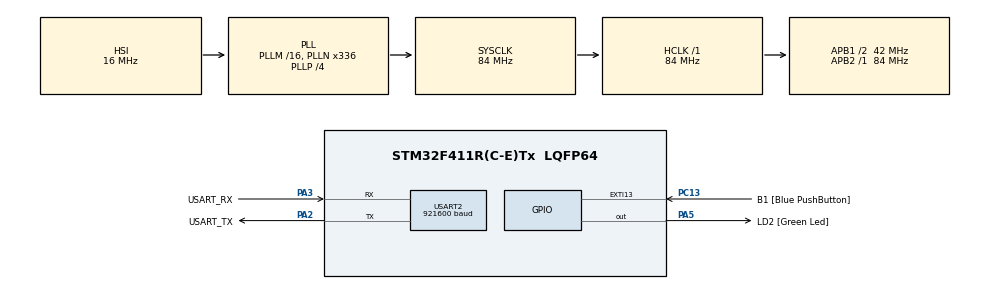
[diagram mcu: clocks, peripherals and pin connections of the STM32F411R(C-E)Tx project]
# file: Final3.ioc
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Mcu.Family=STM32F4
Mcu.Name=STM32F411R(C-E)Tx
Mcu.Package=LQFP64
NVIC.PriorityGroup=NVIC_PRIORITYGROUP_2
NVIC.USART2_IRQn=true\:2\:0\:true\:false\:true\:true\:true
PA13.GPIO_Label=TMS
PA13.Mode=Serial_Wire
PA13.Signal=SYS_JTMS-SWDIO
PA14.GPIO_Label=TCK
PA14.Mode=Serial_Wire
PA14.Signal=SYS_JTCK-SWCLK
PA2.GPIO_Label=USART_TX
PA2.Mode=Asynchronous
PA2.Signal=USART2_TX
PA3.GPIO_Label=USART_RX
PA3.Mode=Asynchronous
PA3.Signal=USART2_RX
PA5.GPIO_Label=LD2 [Green Led]
PA5.Signal=GPIO_Output
PB3.GPIO_Label=SWO
PB3.Signal=SYS_JTDO-SWO
PC13-ANTI_TAMP.GPIO_Label=B1 [Blue PushButton]
PC13-ANTI_TAMP.GPIO_ModeDefaultEXTI=GPIO_MODE_IT_FALLING
PC13-ANTI_TAMP.Signal=GPXTI13
PC14-OSC32_IN.Mode=LSE-External-Oscillator
PC14-OSC32_IN.Signal=RCC_OSC32_IN
PC15-OSC32_OUT.Mode=LSE-External-Oscillator
PC15-OSC32_OUT.Signal=RCC_OSC32_OUT
PH0\ -\ OSC_IN.Mode=HSE-External-Clock-Source
PH0\ -\ OSC_IN.Signal=RCC_OSC_IN
PH1\ -\ OSC_OUT.Mode=HSE-External-Clock-Source
PH1\ -\ OSC_OUT.Signal=RCC_OSC_OUT
ProjectManager.HeapSize=0x200
ProjectManager.StackSize=0x400
ProjectManager.TargetToolchain=STM32CubeIDE
RCC.48MHZClocksFreq_Value=84000000
RCC.AHBFreq_Value=84000000
RCC.APB1CLKDivider=RCC_HCLK_DIV2
RCC.APB1Freq_Value=42000000
RCC.APB1TimFreq_Value=84000000
RCC.APB2Freq_Value=84000000
RCC.APB2TimFreq_Value=84000000
RCC.CortexFreq_Value=84000000
RCC.FLatency-AdvancedSettings=FLASH_LATENCY_2
RCC.HCLKFreq_Value=84000000
RCC.HSE_VALUE=8000000
RCC.HSI_VALUE=16000000
RCC.PLLN=336
RCC.PLLP=RCC_PLLP_DIV4
RCC.SYSCLKFreq_VALUE=84000000
RCC.SYSCLKSource=RCC_SYSCLKSOURCE_PLLCLK
RCC.VCOOutputFreq_Value=336000000
USART2.BaudRate=921600
USART2.VirtualMode=VM_ASYNC
board=NUCLEO-F411RE

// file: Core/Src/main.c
/* USER CODE BEGIN Header */
/**
 ******************************************************************************
 * @file           : main.c
 * @brief          : Main program body
 ******************************************************************************
 * @attention
 *
 * <h2><center>&copy; Copyright (c) 2020 STMicroelectronics.
 * All rights reserved.</center></h2>
 *
 * This software component is licensed by ST under BSD 3-Clause license,
 * the "License"; You may not use this file except in compliance with the
 * License. You may obtain a copy of the License at:
 *                        opensource.org/licenses/BSD-3-Clause
 *
 ******************************************************************************
 */
/* USER CODE END Header */

#include "main.h"
#include <time.h>

/* USER CODE BEGIN PD */
struct co {
	int x;
	int y;
};
/* USER CODE END PD */

UART_HandleTypeDef huart2;

/* USER CODE BEGIN PV */
const char msg[] = "please enter \"snake\": ";
const char wantMsg[] = "Do you want to play SNAKE?: ";
const char clear[] = "\033[J";
const char clearAll[] = "\033[2J";
const char showCursor[] = { 27, '[', '?', '2', '5', 'h' };
const char hideCursor[] = { 27, '[', '?', '2', '5', 'l' };
const char saveCursor[] = { 27, '7' };
const char restoreCursor[] = { 27, '8' };
const char gameOver[][52] = {
		"  ____                          ___                 ",
		" / ___| __ _ _ __ ___   ___    / _ \\__   _____ _ __ ",
		"| |  _ / _` | '_ ` _ \\ / _ \\  | | | \\ \\ / / _ \\ '__|",
		"| |_| | (_| | | | | | |  __/  | |_| |\\ V /  __/ |   ",
		" \\____|\\__,_|_| |_| |_|\\___|   \\___/  \\_/ \\___|_|   "

};
const char snake[][31] = { " _____ _   _  ___  _   _______ ",
		"/  ___| \\ | |/ _ \\| | / /  ___|",
		"\\ `--.|  \\| / /_\\ \\ |/ /| |__  ",
		" `--. \\ . ` |  _  |    \\|  __| ",
		"/\\__/ / |\\  | | | | |\\  \\ |___ ",
		"\\____/\\_| \\_|_| |_|_| \\_|____/ " };

const int width = 100;
const int height = 50;
char render[51][101];
char buff[1];
char buff2[100];
char dirBuff[3];
int status = 0;
int i;
struct co food;
int sx[200];
int sy[200];
int snakeLength;
int dir;
/* USER CODE END PV */

void SystemClock_Config(void);
static void MX_GPIO_Init(void);
static void MX_USART2_UART_Init(void);
/* USER CODE BEGIN PFP */

void clearMap() {
	for (int i = 0; i < height + 1; i++) {
		for (int j = 0; j < width + 1; j++) {
			if (i == 0 || i == height || j == 0 || j == width) {
				render[i][j] = '#';
			} else {
				render[i][j] = ' ';
			}
		}
	}
}
void display() {
	HAL_UART_Transmit(&huart2, restoreCursor, sizeof(restoreCursor), 10);
	HAL_UART_Transmit(&huart2, "\r\n", 2, 10);
	for (int i = 0; i < height + 1; i++) {
		for (int j = 0; j < width + 1; j++) {
			buff[0] = render[i][j];
			HAL_UART_Transmit(&huart2, buff, sizeof(buff), 1000);
		}
		HAL_UART_Transmit(&huart2, "\r\n", 2, 10);
	}
}
void displaySnake() {
	for (int i = 0; i < 6; i++) {
		HAL_UART_Transmit(&huart2, "                                ", 32, 100);
		HAL_UART_Transmit(&huart2, snake[i], sizeof(snake[i]), 100);
		HAL_UART_Transmit(&huart2, "\r\n", 2, 100);
	}
}
void randFood() {
	int x = (rand() % (width) + 1);
	int y = (rand() % (height) + 1);
	food.x = x;
	food.y = y;
}

int buttonDir() {
	int pressDir = 0;
	if (dirBuff[0] == 27 && dirBuff[1] == '[' && dirBuff[2] == 'A') {
		if (dir != 3 && !(sy[1] == sy[0] - 1 && sx[0] == sx[1])) {
			pressDir = 1;
		} else {
			pressDir = 3;
		}
	} else if (dirBuff[0] == 27 && dirBuff[1] == '[' && dirBuff[2] == 'C') {
		if (dir != 4 && !(sx[1] == sx[0] + 1 && sy[1] == sy[0])) {
			pressDir = 2;
		} else {
			pressDir = 4;
		}
	} else if (dirBuff[0] == 27 && dirBuff[1] == '[' && dirBuff[2] == 'B') {
		if (dir != 1 && !(sy[1] == sy[0] + 1 && sx[1] == sx[0])) {
			pressDir = 3;
		} else {
			pressDir = 1;
		}
	} else if (dirBuff[0] == 27 && dirBuff[1] == '[' && dirBuff[2] == 'D') {
		if (dir != 2 && !(sx[1] == sx[0] - 1 && sy[1] == sy[0])) {
			pressDir = 4;
		} else {
			pressDir = 2;
		}
	}

	return pressDir;
}

int checkGameLose() {
//check colide with border
	if (sx[0] == 0 || sx[0] == 100 || sy[0] == 0 || sy[0] == 50) {
		return 1;
	}
//check snake eat their body
	for (int i = 1; i < snakeLength; i++) {
		if (sx[0] == sx[i] && sy[0] == sy[i]) {
			return 1;
		}
	}
	return 0;
}

void update() {
	if (sx[0] == food.x && sy[0] == food.y) {
		int tailX = sx[snakeLength - 1];
		int tailY = sy[snakeLength - 1];
		int befTailX = sx[snakeLength - 2];
		int befTailY = sy[snakeLength - 2];
		if (tailX == befTailX) {
			sx[snakeLength] = tailX;
			sy[snakeLength] = tailY + (tailY - befTailY);
		} else {
			sx[snakeLength] = tailX + (tailX - befTailX);
			sy[snakeLength] = tailY;
		}
		snakeLength++;
		randFood();
	}
	render[sy[snakeLength - 1]][sx[snakeLength - 1]] = ' ';
	for (int i = snakeLength - 1; i > 0; i--) {
		sx[i] = sx[i - 1];
		sy[i] = sy[i - 1];
	}
	if (dir == 1) {
		sx[0] = sx[0];
		sy[0] = sy[0] - 1;

	} else if (dir == 2) {
		sx[0] = sx[0] + 1;
		sy[0] = sy[0];

	} else if (dir == 3) {
		sx[0] = sx[0];
		sy[0] = sy[0] + 1;

	} else if (dir == 4) {
		sx[0] = sx[0] - 1;
		sy[0] = sy[0];

	}
	if (!checkGameLose()) {
		render[food.y][food.x] = 'F';
		for (int i = 0; i < snakeLength; i++) {
			if (i == 0) {
				render[sy[i]][sx[i]] = 'Q';
			} else {
				render[sy[i]][sx[i]] = 'O';
			}
		}
		HAL_UART_Receive_IT(&huart2, dirBuff, sizeof(dirBuff));
	} else {
		status = 3;
	}
}

void updateGameOver() {
	clearMap();
	for (int i = 0; i < 5; i++) {
		for (int j = 0; j < 52; j++) {
			render[15 + i][24 + j] = gameOver[i][j];
		}
	}
	char info[] = "Please hold \"q\" to try again.";
	for (int i = 0; i < 29; i++) {
		render[23][35 + i] = info[i];
	}

}

void gameInit() {
	clearMap();
	i = 0;
	randFood();
	sx[0] = 32;
	sx[1] = 31;
	sx[2] = 30;
	sy[0] = 30;
	sy[1] = 30;
	sy[2] = 30;
	snakeLength = 3;
	dir = 1;
}

void HAL_UART_RxCpltCallback(UART_HandleTypeDef *huart) {
	int b = buttonDir();
	dir = b == 0 ? dir : b;
}

/* USER CODE END PFP */

int main(void) {

	/* MCU Configuration--------------------------------------------------------*/

	/* Reset of all peripherals, Initializes the Flash interface and the Systick. */
	HAL_Init();

	/* Configure the system clock */
	SystemClock_Config();

	/* Initialize all configured peripherals */
	MX_GPIO_Init();
	MX_USART2_UART_Init();

	/* USER CODE BEGIN 2 */
	HAL_UART_Transmit(&huart2, showCursor, sizeof(showCursor), 10);
	gameInit();
	/* USER CODE END 2 */
	/* Infinite loop */
	while (1) {
		/* USER CODE BEGIN 3 */
		if (status == 0) {
			memset(buff, 0, 1);
			HAL_UART_Receive(&huart2, buff, sizeof(buff), 5000);
			HAL_UART_Transmit(&huart2, buff, sizeof(buff), 5000);
			if (buff[0] == 13) {
				if (buff2[i - 1] == 'e' && buff2[i - 2] == 'k'
						&& buff2[i - 3] == 'a' && buff2[i - 4] == 'n'
						&& buff2[i - 5] == 's') {
					HAL_UART_Transmit(&huart2, clearAll, sizeof(clearAll), 100);
					HAL_UART_Transmit(&huart2, wantMsg, sizeof(wantMsg), 100);
					i = 0;
					status = 1;
				} else {
					HAL_UART_Transmit(&huart2, clearAll, sizeof(clearAll), 100);
					HAL_UART_Transmit(&huart2, msg, sizeof(msg), 10);
				}
			} else if (buff[0] == 0) {
			} else {
				buff2[i++] = buff[0];
			}
		} else if (status == 1) {
			memset(buff, 0, 1);
			HAL_UART_Receive(&huart2, buff, sizeof(buff), 5000);
			HAL_UART_Transmit(&huart2, buff, sizeof(buff), 5000);
			if (buff[0] == 13) {
				if (buff2[i - 1] == 'y' || buff2[i - 1] == 'Y') {
					HAL_UART_Transmit(&huart2, clearAll, sizeof(clearAll), 100);
					displaySnake();
					HAL_UART_Transmit(&huart2, saveCursor, sizeof(saveCursor),
							10);
					HAL_UART_Transmit(&huart2, hideCursor, sizeof(hideCursor),
							10);
					HAL_UART_Receive_IT(&huart2, dirBuff, sizeof(dirBuff));
					display();
					status = 2;
				} else {
					HAL_UART_Transmit(&huart2, clearAll, sizeof(clearAll), 100);
					HAL_UART_Transmit(&huart2, msg, sizeof(msg), 10);
					status = 0;
				}
			} else if (buff[0] == 0) {
			} else {
				buff2[i++] = buff[0];
			}
		} else if (status == 2) {
			update();
			display();
			HAL_Delay(100);
		} else if (status == 3) {
			updateGameOver();
			display();
			status = 4;
		} else if (status == 4) {
			HAL_UART_Receive(&huart2, buff, sizeof(buff), 1000);
			if (buff[0] == 'q' || buff[0] == 'Q') {
				gameInit();
				display();
				status = 2;
			}
		}
		/* USER CODE END 3 */
	}
}
void SystemClock_Config(void) {
	RCC_OscInitTypeDef RCC_OscInitStruct = { 0 };
	RCC_ClkInitTypeDef RCC_ClkInitStruct = { 0 };

	/** Configure the main internal regulator output voltage
	 */
	__HAL_RCC_PWR_CLK_ENABLE();
	__HAL_PWR_VOLTAGESCALING_CONFIG(PWR_REGULATOR_VOLTAGE_SCALE1);
	/** Initializes the CPU, AHB and APB busses clocks
	 */
	RCC_OscInitStruct.OscillatorType = RCC_OSCILLATORTYPE_HSI;
	RCC_OscInitStruct.HSIState = RCC_HSI_ON;
	RCC_OscInitStruct.HSICalibrationValue = RCC_HSICALIBRATION_DEFAULT;
	RCC_OscInitStruct.PLL.PLLState = RCC_PLL_ON;
	RCC_OscInitStruct.PLL.PLLSource = RCC_PLLSOURCE_HSI;
	RCC_OscInitStruct.PLL.PLLM = 16;
	RCC_OscInitStruct.PLL.PLLN = 336;
	RCC_OscInitStruct.PLL.PLLP = RCC_PLLP_DIV4;
	RCC_OscInitStruct.PLL.PLLQ = 4;
	if (HAL_RCC_OscConfig(&RCC_OscInitStruct) != HAL_OK) {
		Error_Handler();
	}
	/** Initializes the CPU, AHB and APB busses clocks
	 */
	RCC_ClkInitStruct.ClockType = RCC_CLOCKTYPE_HCLK | RCC_CLOCKTYPE_SYSCLK
			| RCC_CLOCKTYPE_PCLK1 | RCC_CLOCKTYPE_PCLK2;
	RCC_ClkInitStruct.SYSCLKSource = RCC_SYSCLKSOURCE_PLLCLK;
	RCC_ClkInitStruct.AHBCLKDivider = RCC_SYSCLK_DIV1;
	RCC_ClkInitStruct.APB1CLKDivider = RCC_HCLK_DIV2;
	RCC_ClkInitStruct.APB2CLKDivider = RCC_HCLK_DIV1;

	if (HAL_RCC_ClockConfig(&RCC_ClkInitStruct, FLASH_LATENCY_2) != HAL_OK) {
		Error_Handler();
	}
}

static void MX_USART2_UART_Init(void) {

	huart2.Instance = USART2;
	huart2.Init.BaudRate = 921600;
	huart2.Init.WordLength = UART_WORDLENGTH_8B;
	huart2.Init.StopBits = UART_STOPBITS_1;
	huart2.Init.Parity = UART_PARITY_NONE;
	huart2.Init.Mode = UART_MODE_TX_RX;
	huart2.Init.HwFlowCtl = UART_HWCONTROL_NONE;
	huart2.Init.OverSampling = UART_OVERSAMPLING_16;
	if (HAL_UART_Init(&huart2) != HAL_OK) {
		Error_Handler();
	}

}

static void MX_GPIO_Init(void) {
	GPIO_InitTypeDef GPIO_InitStruct = { 0 };

	/* GPIO Ports Clock Enable */
	__HAL_RCC_GPIOC_CLK_ENABLE();
	__HAL_RCC_GPIOH_CLK_ENABLE();
	__HAL_RCC_GPIOA_CLK_ENABLE();
	__HAL_RCC_GPIOB_CLK_ENABLE();

	/*Configure GPIO pin Output Level */
	HAL_GPIO_WritePin(LD2_GPIO_Port, LD2_Pin, GPIO_PIN_RESET);

	/*Configure GPIO pin : B1_Pin */
	GPIO_InitStruct.Pin = B1_Pin;
	GPIO_InitStruct.Mode = GPIO_MODE_IT_FALLING;
	GPIO_InitStruct.Pull = GPIO_NOPULL;
	HAL_GPIO_Init(B1_GPIO_Port, &GPIO_InitStruct);

	/*Configure GPIO pin : LD2_Pin */
	GPIO_InitStruct.Pin = LD2_Pin;
	GPIO_InitStruct.Mode = GPIO_MODE_OUTPUT_PP;
	GPIO_InitStruct.Pull = GPIO_NOPULL;
	GPIO_InitStruct.Speed = GPIO_SPEED_FREQ_LOW;
	HAL_GPIO_Init(LD2_GPIO_Port, &GPIO_InitStruct);

}

void Error_Handler(void) {
}

/************************ (C) COPYRIGHT STMicroelectronics *****END OF FILE****/
